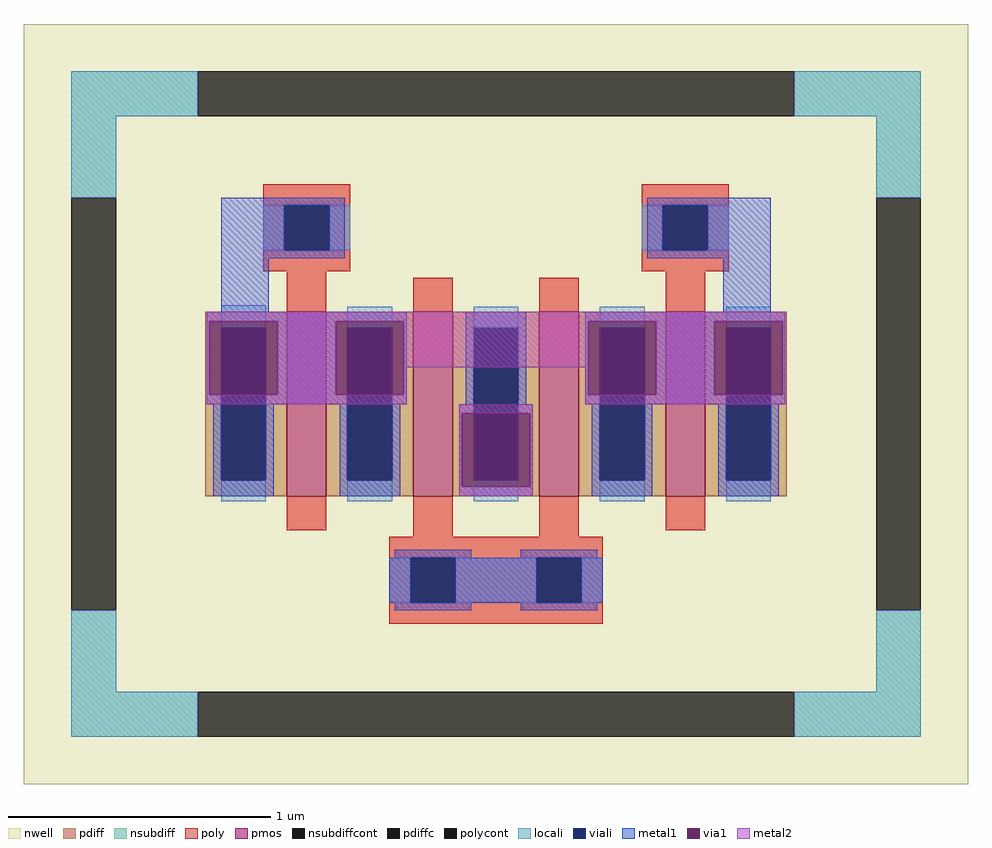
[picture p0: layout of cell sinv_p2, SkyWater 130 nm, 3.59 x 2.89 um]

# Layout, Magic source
magic
tech sky130A
magscale 1 2
<< nwell >>
rect -359 -289 359 289
<< pmos >>
rect -159 -70 -129 70
rect -63 -70 -33 70
rect 33 -70 63 70
rect 129 -70 159 70
<< pdiff >>
rect -221 58 -159 70
rect -221 -58 -209 58
rect -175 -58 -159 58
rect -221 -70 -159 -58
rect -129 58 -63 70
rect -129 -58 -113 58
rect -79 -58 -63 58
rect -129 -70 -63 -58
rect -33 58 33 70
rect -33 -58 -17 58
rect 17 -58 33 58
rect -33 -70 33 -58
rect 63 58 129 70
rect 63 -58 79 58
rect 113 -58 129 58
rect 63 -70 129 -58
rect 159 58 221 70
rect 159 -58 175 58
rect 209 -58 221 58
rect 159 -70 221 -58
<< pdiffc >>
rect -209 -58 -175 58
rect -113 -58 -79 58
rect -17 -58 17 58
rect 79 -58 113 58
rect 175 -58 209 58
<< nsubdiff >>
rect -323 219 -227 253
rect 227 219 323 253
rect -323 157 -289 219
rect 289 157 323 219
rect -323 -219 -289 -157
rect 289 -219 323 -157
rect -323 -253 -227 -219
rect 227 -253 323 -219
<< nsubdiffcont >>
rect -227 219 227 253
rect -323 -157 -289 157
rect 289 -157 323 157
rect -227 -253 227 -219
<< poly >>
rect -177 151 -111 167
rect -177 117 -161 151
rect -127 117 -111 151
rect -177 101 -111 117
rect 111 151 177 167
rect 111 117 127 151
rect 161 117 177 151
rect 111 101 177 117
rect -159 70 -129 101
rect -63 70 -33 96
rect 33 70 63 96
rect 129 70 159 101
rect -159 -96 -129 -70
rect -63 -101 -33 -70
rect 33 -101 63 -70
rect 129 -96 159 -70
rect -81 -117 81 -101
rect -81 -151 -65 -117
rect -31 -151 31 -117
rect 65 -151 81 -117
rect -81 -167 81 -151
<< polycont >>
rect -161 117 -127 151
rect 127 117 161 151
rect -65 -151 -31 -117
rect 31 -151 65 -117
<< locali >>
rect -323 219 -227 253
rect 227 219 323 253
rect -323 157 -289 219
rect 289 157 323 219
rect -177 117 -161 151
rect -127 117 -111 151
rect 111 117 127 151
rect 161 117 177 151
rect -209 58 -175 75
rect -209 -74 -175 -58
rect -113 58 -79 74
rect -113 -74 -79 -58
rect -17 58 17 74
rect -17 -74 17 -58
rect 79 58 113 74
rect 79 -74 113 -58
rect 175 58 209 74
rect 175 -74 209 -58
rect -81 -151 -65 -117
rect -31 -151 31 -117
rect 65 -151 81 -117
rect -323 -219 -289 -157
rect 289 -219 323 -157
rect -323 -253 -227 -219
rect 227 -253 323 -219
<< viali >>
rect -161 117 -127 151
rect 127 117 161 151
rect -209 -58 -175 58
rect -113 -58 -79 58
rect -17 -58 17 58
rect 79 -58 113 58
rect 175 -58 209 58
rect -65 -151 -31 -117
rect 31 -151 65 -117
<< metal1 >>
rect -209 151 -115 157
rect -209 117 -161 151
rect -127 117 -115 151
rect -209 111 -115 117
rect 115 151 209 157
rect 115 117 127 151
rect 161 117 209 151
rect 115 111 209 117
rect -209 70 -173 111
rect 173 70 209 111
rect -220 63 -68 70
rect -220 7 -218 63
rect -166 7 -122 63
rect -70 7 -68 63
rect -220 0 -209 7
rect -215 -58 -209 0
rect -175 0 -113 7
rect -175 -58 -169 0
rect -215 -70 -169 -58
rect -119 -58 -113 0
rect -79 0 -68 7
rect -23 58 23 70
rect -23 0 -17 58
rect -79 -58 -73 0
rect -119 -70 -73 -58
rect -28 -7 -17 0
rect 17 0 23 58
rect 68 63 220 70
rect 68 7 70 63
rect 122 7 166 63
rect 218 7 220 63
rect 68 0 79 7
rect 17 -7 28 0
rect -28 -63 -26 -7
rect 26 -63 28 -7
rect -28 -70 28 -63
rect 73 -58 79 0
rect 113 0 175 7
rect 113 -58 119 0
rect 73 -70 119 -58
rect 169 -58 175 0
rect 209 0 220 7
rect 209 -58 215 0
rect 169 -70 215 -58
rect -77 -117 -19 -111
rect 19 -117 77 -111
rect -81 -151 -65 -117
rect -31 -151 31 -117
rect 65 -151 81 -117
rect -77 -157 -19 -151
rect 19 -157 77 -151
<< via1 >>
rect -218 58 -166 63
rect -218 7 -209 58
rect -209 7 -175 58
rect -175 7 -166 58
rect -122 58 -70 63
rect -122 7 -113 58
rect -113 7 -79 58
rect -79 7 -70 58
rect 70 58 122 63
rect 70 7 79 58
rect 79 7 113 58
rect 113 7 122 58
rect 166 58 218 63
rect 166 7 175 58
rect 175 7 209 58
rect 209 7 218 58
rect -26 -58 -17 -7
rect -17 -58 17 -7
rect 17 -58 26 -7
rect -26 -63 26 -58
<< metal2 >>
rect -220 63 220 70
rect -220 7 -218 63
rect -166 7 -122 63
rect -70 28 70 63
rect -70 7 -68 28
rect -220 0 -68 7
rect 68 7 70 28
rect 122 7 166 63
rect 218 7 220 63
rect 68 0 220 7
rect -28 -7 28 0
rect -28 -63 -26 -7
rect 26 -63 28 -7
rect -28 -70 28 -63
<< properties >>
string FIXED_BBOX -306 -236 306 236
string gencell sky130_fd_pr__pfet_01v8
string library sky130
string parameters w 0.7 l 0.15 m 1 nf 4 diffcov 100 polycov 100 guard 1 glc 1 grc 1 gtc 1 gbc 1 tbcov 100 rlcov 100 topc 1 botc 1 poverlap 0 doverlap 1 lmin 0.15 wmin 0.42 compatible {sky130_fd_pr__pfet_01v8  sky130_fd_pr__pfet_01v8_lvt sky130_fd_pr__pfet_01v8_hvt  sky130_fd_pr__pfet_g5v0d10v5} full_metal 1 viasrc 100 viadrn 100 viagate 100 viagb 0 viagr 0 viagl 0 viagt 0
<< end >>
